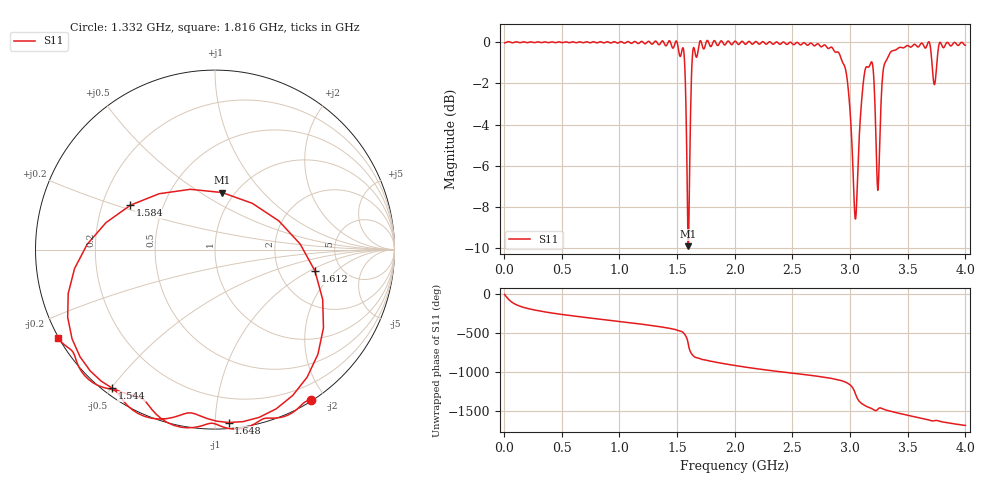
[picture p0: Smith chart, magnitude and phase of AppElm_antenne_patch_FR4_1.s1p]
! TOUCHSTONE file generated by CST MICROWAVE STUDIO
! Date and time: Tue Jun 14 11:27:46 2022
! Project name: AppElm_antenne_patch_FR4.cst
! Parameters = {L=45; W=43.875; e=0.035; h=1.6; lambda=0.190476; ls=120; w0=2.54; w1=0.847; ws=120; y0=18; y1=23.8}
! Header version: 2018
! Port assignment regex: !\s*Touchstone port\s*([0-9]+)\s*=\s*(CST MWS port|CST DS port)\s*([0-9]+|Zmin|Zmax)\s*\(\"(.*)\"\)(\s*mode\s*([0-9]+))?.*
! Touchstone port assignment:
! Touchstone port 1 = CST MWS port 1 ("")
# GHz S MA R 50
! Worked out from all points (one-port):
!   1000 points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, 4 MHz to 4 GHz, reference 50 ohm
!   lowest |S11| = -9.9 dB at 1.596 GHz (marker M1), VSWR 1.94, Z = 43.8 + j31.1 ohm
!   |S11| at or under -10 dB: nowhere
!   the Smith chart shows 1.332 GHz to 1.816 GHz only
!   S11 on the Smith chart (normalised r, x): 1.332 GHz: 0.02, -1.83; 1.544 GHz: 0.02, -0.50; 1.584 GHz: 0.32, +0.22; 1.612 GHz: 3.21, -1.13; 1.648 GHz: 0.04, -1.08; 1.816 GHz: -0.00, -0.26
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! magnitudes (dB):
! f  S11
! 4 MHz  0.0
! 504 MHz  0.0
! 1.004 GHz  0.0
! 1.332 GHz  -0.1
! 1.504 GHz  -0.1
! 1.544 GHz  -0.3
! 1.564 GHz  -0.9
! 1.584 GHz  -5.5
! 1.596 GHz  -9.9
! 1.612 GHz  -4.9
! 1.632 GHz  -0.7
! 1.648 GHz  -0.3
! 1.816 GHz  0.1
! 2.004 GHz  0.1
! 2.504 GHz  -0.1
! 2.9 GHz  -0.5
! 2.964 GHz  -1.4
! 3.004 GHz  -3.7
! 3.048 GHz  -8.6
! 3.136 GHz  -1.2
! 3.192 GHz  -1.0
! 3.24 GHz  -7.2
! 3.304 GHz  -1.0
! 3.504 GHz  -0.2
! 3.68 GHz  0.0
! 3.732 GHz  -2.1
! 3.784 GHz  0.0
! 4 GHz  -0.1
